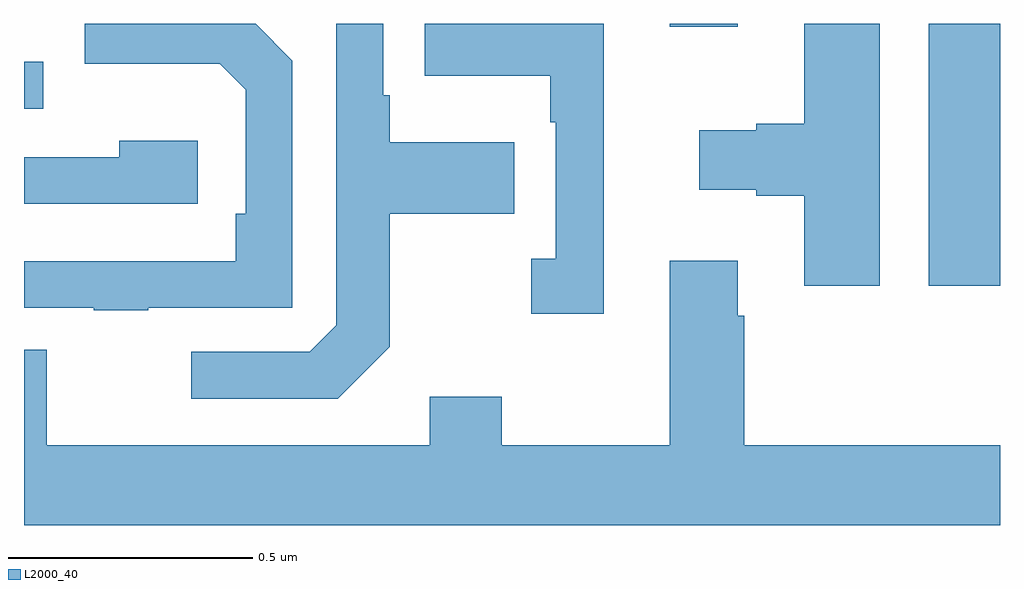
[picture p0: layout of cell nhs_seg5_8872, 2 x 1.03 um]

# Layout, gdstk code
import gdstk
lib = gdstk.Library(unit=1e-6, precision=1e-09)
def R(c, l, rs):  # rectangles x0, y0, x1, y1
    for r in rs: c.add(gdstk.rectangle(r[:2], r[2:], *l))
def P(c, l, *ps):  # polygons
    for p in ps: c.add(gdstk.Polygon(p, *l))
L2000_40 = (2000, 40)

nhs_seg5_8872 = lib.new_cell('nhs_seg5_8872')
R(nhs_seg5_8872, L2000_40, [(228.854,845.262,229,845.799), (227,845.625,227.039,845.721), (228.323,845.793,228.463,845.799)])
P(nhs_seg5_8872, L2000_40, [(227.749,845.137),(227.749,845.41),(228.005,845.41),(228.005,845.557),(227.749,845.557),(227.749,845.653),(227.736,845.653),(227.736,845.799),(227.64,845.799),(227.64,845.181),(227.586,845.127),(227.343,845.127),(227.343,845.031),(227.643,845.031)],
  [(228.754,845.799),(228.599,845.799),(228.599,845.594),(228.5,845.594),(228.5,845.581),(228.384,845.581),(228.384,845.459),(228.5,845.459),(228.5,845.447),(228.599,845.447),(228.599,845.262),(228.754,845.262)],
  [(228.188,845.799),(227.821,845.799),(227.821,845.693),(228.078,845.693),(228.078,845.597),(228.09,845.597),(228.09,845.318),(228.039,845.318),(228.039,845.205),(228.188,845.205)],
  [(227.255,845.217),(227.55,845.217),(227.55,845.724),(227.475,845.799),(227.124,845.799),(227.124,845.717),(227.401,845.717),(227.454,845.664),(227.454,845.41),(227.434,845.41),(227.434,845.313),(227,845.313),(227,845.217),(227.143,845.217),(227.143,845.212),(227.255,845.212)],
  [(227.356,845.56),(227.195,845.56),(227.195,845.526),(227,845.526),(227,845.43),(227.356,845.43)],
  [(229,844.936),(228.476,844.936),(228.476,845.201),(228.463,845.201),(228.463,845.314),(228.323,845.314),(228.323,844.936),(227.979,844.936),(227.979,845.035),(227.831,845.035),(227.831,844.936),(227.047,844.936),(227.047,845.131),(227,845.131),(227,844.772),(229,844.772)])

lib.write_gds('nhs_seg5_8872.gds')
